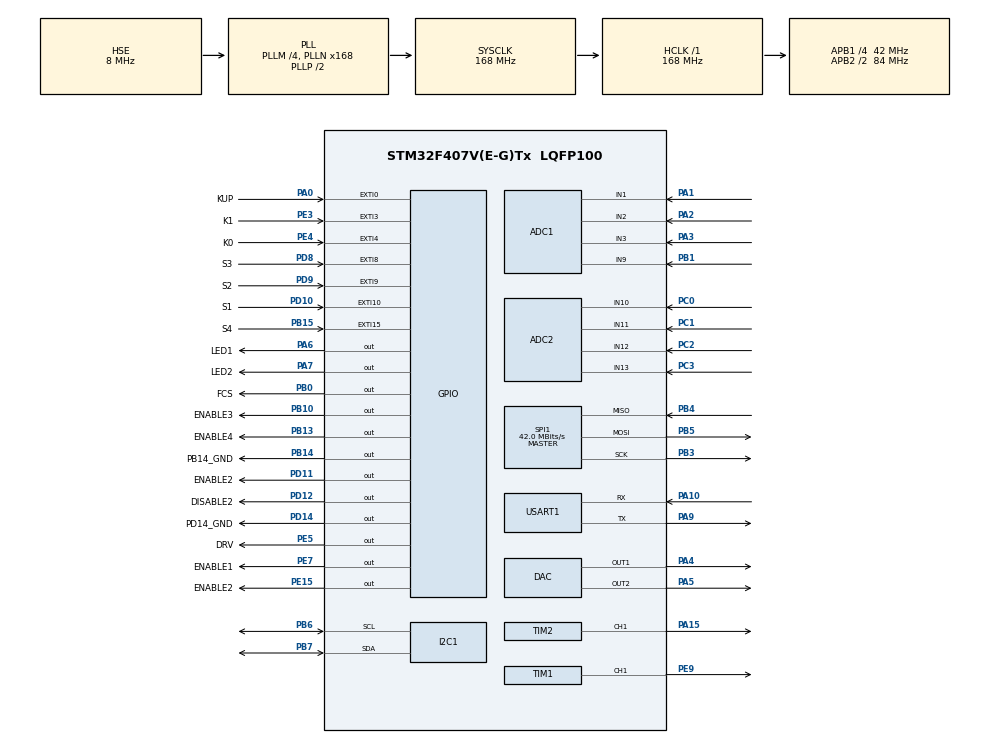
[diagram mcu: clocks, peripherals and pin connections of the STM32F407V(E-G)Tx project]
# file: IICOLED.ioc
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ADC1.Channel-0\#ChannelRegularConversion=ADC_CHANNEL_1
ADC1.Channel-1\#ChannelRegularConversion=ADC_CHANNEL_2
ADC1.Channel-2\#ChannelRegularConversion=ADC_CHANNEL_3
ADC1.Channel-7\#ChannelRegularConversion=ADC_CHANNEL_10
ADC1.ContinuousConvMode=ENABLE
ADC1.DMAContinuousRequests=ENABLE
ADC1.EOCSelection=ADC_EOC_SEQ_CONV
ADC1.EnableAnalogWatchDog=false
ADC1.NbrOfConversion=4
ADC1.NbrOfConversionFlag=1
ADC1.Rank-0\#ChannelRegularConversion=1
ADC1.Rank-1\#ChannelRegularConversion=2
ADC1.Rank-2\#ChannelRegularConversion=3
ADC1.Rank-7\#ChannelRegularConversion=4
ADC1.SamplingTime-0\#ChannelRegularConversion=ADC_SAMPLETIME_15CYCLES
ADC1.SamplingTime-1\#ChannelRegularConversion=ADC_SAMPLETIME_15CYCLES
ADC1.SamplingTime-2\#ChannelRegularConversion=ADC_SAMPLETIME_15CYCLES
ADC1.SamplingTime-7\#ChannelRegularConversion=ADC_SAMPLETIME_15CYCLES
ADC1.ScanConvMode=ENABLE
ADC1.master=1
ADC2.Channel-2\#ChannelRegularConversion=ADC_CHANNEL_10
ADC2.Channel-3\#ChannelRegularConversion=ADC_CHANNEL_11
ADC2.ClockPrescaler=ADC_CLOCK_SYNC_PCLK_DIV4
ADC2.ContinuousConvMode=ENABLE
ADC2.DMAContinuousRequests=ENABLE
ADC2.DiscontinuousConvMode=DISABLE
ADC2.EOCSelection=ADC_EOC_SEQ_CONV
ADC2.EnableAnalogWatchDog=false
ADC2.NbrOfConversion=2
ADC2.NbrOfConversionFlag=1
ADC2.Rank-2\#ChannelRegularConversion=1
ADC2.Rank-3\#ChannelRegularConversion=2
ADC2.SamplingTime-2\#ChannelRegularConversion=ADC_SAMPLETIME_15CYCLES
ADC2.SamplingTime-3\#ChannelRegularConversion=ADC_SAMPLETIME_15CYCLES
ADC2.ScanConvMode=ENABLE
DAC.DAC_OutputBuffer=DAC_OUTPUTBUFFER_DISABLE
DAC.DAC_OutputBuffer2=DAC_OUTPUTBUFFER_DISABLE
DAC.DAC_Trigger=DAC_TRIGGER_T6_TRGO
DAC.DAC_Trigger2=DAC_TRIGGER_T6_TRGO
Dma.ADC1.0.Direction=DMA_PERIPH_TO_MEMORY
Dma.ADC1.0.FIFOMode=DMA_FIFOMODE_DISABLE
Dma.ADC1.0.Instance=DMA2_Stream0
Dma.ADC1.0.MemDataAlignment=DMA_MDATAALIGN_HALFWORD
Dma.ADC1.0.MemInc=DMA_MINC_ENABLE
Dma.ADC1.0.Mode=DMA_CIRCULAR
Dma.ADC1.0.PeriphDataAlignment=DMA_PDATAALIGN_HALFWORD
Dma.ADC1.0.PeriphInc=DMA_PINC_DISABLE
Dma.ADC1.0.Priority=DMA_PRIORITY_VERY_HIGH
Dma.ADC2.1.Direction=DMA_PERIPH_TO_MEMORY
Dma.ADC2.1.FIFOMode=DMA_FIFOMODE_DISABLE
Dma.ADC2.1.Instance=DMA2_Stream2
Dma.ADC2.1.MemDataAlignment=DMA_MDATAALIGN_HALFWORD
Dma.ADC2.1.MemInc=DMA_MINC_ENABLE
Dma.ADC2.1.Mode=DMA_CIRCULAR
Dma.ADC2.1.PeriphDataAlignment=DMA_PDATAALIGN_HALFWORD
Dma.ADC2.1.PeriphInc=DMA_PINC_DISABLE
Dma.ADC2.1.Priority=DMA_PRIORITY_VERY_HIGH
Dma.DAC1.2.Direction=DMA_MEMORY_TO_PERIPH
Dma.DAC1.2.FIFOMode=DMA_FIFOMODE_DISABLE
Dma.DAC1.2.Instance=DMA1_Stream5
Dma.DAC1.2.MemDataAlignment=DMA_MDATAALIGN_HALFWORD
Dma.DAC1.2.MemInc=DMA_MINC_ENABLE
Dma.DAC1.2.Mode=DMA_CIRCULAR
Dma.DAC1.2.PeriphDataAlignment=DMA_PDATAALIGN_HALFWORD
Dma.DAC1.2.PeriphInc=DMA_PINC_DISABLE
Dma.DAC1.2.Priority=DMA_PRIORITY_HIGH
Dma.DAC2.3.Direction=DMA_MEMORY_TO_PERIPH
Dma.DAC2.3.FIFOMode=DMA_FIFOMODE_DISABLE
Dma.DAC2.3.Instance=DMA1_Stream6
Dma.DAC2.3.MemDataAlignment=DMA_MDATAALIGN_HALFWORD
Dma.DAC2.3.MemInc=DMA_MINC_ENABLE
Dma.DAC2.3.Mode=DMA_CIRCULAR
Dma.DAC2.3.PeriphDataAlignment=DMA_PDATAALIGN_HALFWORD
Dma.DAC2.3.PeriphInc=DMA_PINC_DISABLE
Dma.DAC2.3.Priority=DMA_PRIORITY_HIGH
Dma.Request0=ADC1
Dma.Request1=ADC2
Dma.Request2=DAC1
Dma.Request3=DAC2
Mcu.Family=STM32F4
Mcu.Name=STM32F407V(E-G)Tx
Mcu.Package=LQFP100
NVIC.DMA1_Stream5_IRQn=true\:0\:0\:false\:false\:true\:false\:true
NVIC.DMA1_Stream6_IRQn=true\:0\:0\:false\:false\:true\:false\:true
NVIC.DMA2_Stream0_IRQn=true\:0\:0\:true\:false\:true\:false\:true
NVIC.DMA2_Stream2_IRQn=true\:0\:0\:false\:false\:true\:false\:true
NVIC.EXTI0_IRQn=true\:7\:0\:true\:false\:true\:true\:true
NVIC.EXTI15_10_IRQn=true\:7\:0\:true\:false\:true\:true\:true
NVIC.EXTI3_IRQn=true\:7\:0\:true\:false\:true\:true\:true
NVIC.EXTI4_IRQn=true\:7\:0\:true\:false\:true\:true\:true
NVIC.EXTI9_5_IRQn=true\:7\:0\:true\:false\:true\:true\:true
NVIC.PriorityGroup=NVIC_PRIORITYGROUP_4
NVIC.TIM1_BRK_TIM9_IRQn=true\:4\:0\:true\:false\:true\:true\:true
NVIC.TIM6_DAC_IRQn=true\:0\:0\:false\:false\:true\:true\:true
NVIC.TIM8_BRK_TIM12_IRQn=true\:5\:0\:true\:false\:true\:true\:true
PA0-WKUP.GPIO_Label=KUP
PA0-WKUP.GPIO_ModeDefaultEXTI=GPIO_MODE_IT_FALLING
PA0-WKUP.GPIO_PuPd=GPIO_PULLDOWN
PA0-WKUP.Signal=GPXTI0
PA1.Signal=ADCx_IN1
PA10.Mode=Asynchronous
PA10.Signal=USART1_RX
PA13.Mode=Serial_Wire
PA13.Signal=SYS_JTMS-SWDIO
PA14.Mode=Serial_Wire
PA14.Signal=SYS_JTCK-SWCLK
PA15.Signal=S_TIM2_CH1_ETR
PA2.Signal=ADCx_IN2
PA3.Signal=ADCx_IN3
PA4.Signal=COMP_DAC1_group
PA5.Signal=COMP_DAC2_group
PA6.GPIO_Label=LED1
PA6.Signal=GPIO_Output
PA7.GPIO_Label=LED2
PA7.Signal=GPIO_Output
PA9.Mode=Asynchronous
PA9.Signal=USART1_TX
PB0.GPIO_Label=FCS
PB0.GPIO_Speed=GPIO_SPEED_FREQ_VERY_HIGH
PB0.PinState=GPIO_PIN_SET
PB0.Signal=GPIO_Output
PB1.Signal=ADCx_IN9
PB10.GPIO_Label=ENABLE3
PB10.GPIO_PuPd=GPIO_PULLDOWN
PB10.GPIO_Speed=GPIO_SPEED_FREQ_HIGH
PB10.Signal=GPIO_Output
PB13.GPIO_Label=ENABLE4
PB13.GPIO_PuPd=GPIO_PULLDOWN
PB13.GPIO_Speed=GPIO_SPEED_FREQ_HIGH
PB13.Signal=GPIO_Output
PB14.GPIO_Label=PB14_GND
PB14.GPIO_ModeDefaultOutputPP=GPIO_MODE_OUTPUT_OD
PB14.GPIO_PuPd=GPIO_PULLDOWN
PB14.Signal=GPIO_Output
PB15.GPIO_Label=S4
PB15.GPIO_ModeDefaultEXTI=GPIO_MODE_IT_FALLING
PB15.GPIO_PuPd=GPIO_PULLUP
PB15.Signal=GPXTI15
PB3.Mode=Full_Duplex_Master
PB3.Signal=SPI1_SCK
PB4.Mode=Full_Duplex_Master
PB4.Signal=SPI1_MISO
PB5.Mode=Full_Duplex_Master
PB5.Signal=SPI1_MOSI
PB6.Mode=I2C
PB6.Signal=I2C1_SCL
PB7.Mode=I2C
PB7.Signal=I2C1_SDA
PC0.Signal=ADCx_IN10
PC1.Signal=ADCx_IN11
PC2.Signal=ADCx_IN12
PC3.Signal=ADCx_IN13
PD10.GPIO_Label=S1
PD10.GPIO_ModeDefaultEXTI=GPIO_MODE_IT_FALLING
PD10.GPIO_PuPd=GPIO_PULLUP
PD10.Signal=GPXTI10
PD11.GPIO_Label=ENABLE2
PD11.GPIO_PuPd=GPIO_PULLDOWN
PD11.GPIO_Speed=GPIO_SPEED_FREQ_HIGH
PD11.PinState=GPIO_PIN_RESET
PD11.Signal=GPIO_Output
PD12.GPIO_Label=DISABLE2
PD12.GPIO_PuPd=GPIO_PULLUP
PD12.GPIO_Speed=GPIO_SPEED_FREQ_HIGH
PD12.PinState=GPIO_PIN_SET
PD12.Signal=GPIO_Output
PD14.GPIO_Label=PD14_GND
PD14.GPIO_ModeDefaultOutputPP=GPIO_MODE_OUTPUT_OD
PD14.Signal=GPIO_Output
PD8.GPIO_Label=S3
PD8.GPIO_ModeDefaultEXTI=GPIO_MODE_IT_FALLING
PD8.GPIO_PuPd=GPIO_PULLUP
PD8.Signal=GPXTI8
PD9.GPIO_Label=S2
PD9.GPIO_ModeDefaultEXTI=GPIO_MODE_IT_FALLING
PD9.GPIO_PuPd=GPIO_PULLUP
PD9.Signal=GPXTI9
PE15.GPIO_Label=ENABLE2
PE15.Signal=GPIO_Output
PE3.GPIO_Label=K1
PE3.GPIO_ModeDefaultEXTI=GPIO_MODE_IT_FALLING
PE3.GPIO_PuPd=GPIO_PULLUP
PE3.Signal=GPXTI3
PE4.GPIO_Label=K0
PE4.GPIO_ModeDefaultEXTI=GPIO_MODE_IT_FALLING
PE4.GPIO_PuPd=GPIO_PULLUP
PE4.Signal=GPXTI4
PE5.GPIO_Label=DRV
PE5.GPIO_PuPd=GPIO_PULLDOWN
PE5.GPIO_Speed=GPIO_SPEED_FREQ_VERY_HIGH
PE5.PinState=GPIO_PIN_RESET
PE5.Signal=GPIO_Output
PE7.GPIO_Label=ENABLE1
PE7.GPIO_PuPd=GPIO_PULLDOWN
PE7.GPIO_Speed=GPIO_SPEED_FREQ_HIGH
PE7.Signal=GPIO_Output
PE9.GPIO_Speed=GPIO_SPEED_FREQ_VERY_HIGH
PE9.Signal=S_TIM1_CH1
PH0-OSC_IN.Mode=HSE-External-Oscillator
PH0-OSC_IN.Signal=RCC_OSC_IN
PH1-OSC_OUT.Mode=HSE-External-Oscillator
PH1-OSC_OUT.Signal=RCC_OSC_OUT
ProjectManager.HeapSize=0x800
ProjectManager.StackSize=0xf00
ProjectManager.TargetToolchain=MDK-ARM V5
RCC.48MHZClocksFreq_Value=84000000
RCC.AHBFreq_Value=168000000
RCC.APB1CLKDivider=RCC_HCLK_DIV4
RCC.APB1Freq_Value=42000000
RCC.APB1TimFreq_Value=84000000
RCC.APB2CLKDivider=RCC_HCLK_DIV2
RCC.APB2Freq_Value=84000000
RCC.APB2TimFreq_Value=168000000
RCC.CortexFreq_Value=168000000
RCC.HCLKFreq_Value=168000000
RCC.HSE_VALUE=8000000
RCC.HSI_VALUE=16000000
RCC.LSE_VALUE=32768
RCC.PLLM=4
RCC.PLLN=168
RCC.PLLSourceVirtual=RCC_PLLSOURCE_HSE
RCC.SYSCLKFreq_VALUE=168000000
RCC.SYSCLKSource=RCC_SYSCLKSOURCE_PLLCLK
RCC.VCOOutputFreq_Value=336000000
SH.ADCx_IN1.0=ADC1_IN1,IN1
SH.ADCx_IN10.0=ADC2_IN10,IN10
SH.ADCx_IN10.1=ADC1_IN10,IN10
SH.ADCx_IN11.0=ADC2_IN11,IN11
SH.ADCx_IN11.1=ADC1_IN11,IN11
SH.ADCx_IN12.0=ADC2_IN12,IN12
SH.ADCx_IN12.1=ADC1_IN12,IN12
SH.ADCx_IN13.0=ADC2_IN13,IN13
SH.ADCx_IN13.1=ADC1_IN13,IN13
SH.ADCx_IN2.0=ADC1_IN2,IN2
SH.ADCx_IN3.0=ADC1_IN3,IN3
SH.ADCx_IN9.0=ADC1_IN9,IN9
SH.COMP_DAC1_group.0=DAC_OUT1,DAC_OUT1
SH.COMP_DAC2_group.0=DAC_OUT2,DAC_OUT2
SH.S_TIM1_CH1.0=TIM1_CH1,PWM Generation1 CH1
SH.S_TIM2_CH1_ETR.0=TIM2_CH1,PWM Generation1 CH1
SPI1.CalculateBaudRate=42.0 MBits/s
SPI1.Direction=SPI_DIRECTION_2LINES
SPI1.Mode=SPI_MODE_MASTER
SPI1.VirtualType=VM_MASTER
TIM1.Channel-PWM\ Generation1\ CH1=TIM_CHANNEL_1
TIM1.Period=83
TIM1.Pulse-PWM\ Generation1\ CH1=41
TIM1.TIM_MasterOutputTrigger=TIM_TRGO_ENABLE
TIM1.TIM_MasterSlaveMode=TIM_MASTERSLAVEMODE_ENABLE
TIM12.AutoReloadPreload=TIM_AUTORELOAD_PRELOAD_DISABLE
TIM12.ClockDivision=TIM_CLOCKDIVISION_DIV1
TIM12.Period=1000-1
TIM12.Prescaler=8400-1
TIM2.Channel-PWM\ Generation1\ CH1=TIM_CHANNEL_1
TIM2.Period=83
TIM2.Prescaler=0
TIM2.Pulse-PWM\ Generation1\ CH1=41
TIM6.AutoReloadPreload=TIM_AUTORELOAD_PRELOAD_ENABLE
TIM6.Period=119
TIM6.Prescaler=6
TIM6.TIM_MasterOutputTrigger=TIM_TRGO_UPDATE
TIM9.AutoReloadPreload=TIM_AUTORELOAD_PRELOAD_ENABLE
TIM9.Period=258-1
TIM9.Prescaler=84-1
USART1.VirtualMode=VM_ASYNC
VP_TIM12_VS_ClockSourceINT.Mode=Internal
VP_TIM6_VS_ClockSourceINT.Mode=Enable_Timer
VP_TIM9_VS_ClockSourceINT.Mode=Internal
board=custom

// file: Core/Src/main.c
/* USER CODE BEGIN Header */
/**
  ******************************************************************************
  * @file           : main.c
  * @brief          : Main program body
  ******************************************************************************
  * @attention
  *
  * <h2><center>&copy; Copyright (c) 2019 STMicroelectronics.
  * All rights reserved.</center></h2>
  *
  * This software component is licensed by ST under BSD 3-Clause license,
  * the "License"; You may not use this file except in compliance with the
  * License. You may obtain a copy of the License at:
  *                        opensource.org/licenses/BSD-3-Clause
  *
  ******************************************************************************
  */
/* USER CODE END Header */

#include "main.h"
#include "adc.h"
#include "dac.h"
#include "dma.h"
#include "i2c.h"
#include "spi.h"
#include "tim.h"
#include "usart.h"
#include "gpio.h"

/* USER CODE BEGIN Includes */
#include "stdio.h"
#include "math.h"
#include "stdlib.h"
#include "control.h"
#include "oled.h"
#include "w25q16.h"
#include "spwm.h"
#include "arm_const_structs.h"

/* USER CODE END Includes */

/* USER CODE BEGIN PD */
#define RELAY_ON()	HAL_GPIO_WritePin(ENABLE1_GPIO_Port, ENABLE1_Pin, GPIO_PIN_SET)
#define RELAY_OFF()	HAL_GPIO_WritePin(ENABLE1_GPIO_Port, ENABLE1_Pin, GPIO_PIN_RESET)
#define LOAD_ON()		HAL_GPIO_WritePin(ENABLE2_GPIO_Port, ENABLE2_Pin, GPIO_PIN_SET)
#define LOAD_OFF()	HAL_GPIO_WritePin(ENABLE2_GPIO_Port, ENABLE2_Pin, GPIO_PIN_RESET)

#define GAIN_ALL_200kHz (54.28*12.6/7.93)
#define GAIN_ALL_150kHz (54.28*15.8/11.01)
#define GAIN_ALL_100kHz (54.28*20/14.26)

#define GAIN_ALL_60kHz	(54.28*23/19.65)
#define GAIN_ALL_40kHz	(54.28*24.2/22.95)
#define GAIN_ALL_20kHz	(54.28*25.2/25.86)

#define GAIN_ALL_10kHz	(54.28*33/27.03)
#define GAIN_ALL_1kHz		(54.28)
#define Schottky_drop		200

#define Filter   0.5

/* USER CODE END PD */

/* USER CODE BEGIN PV */
//Global Flag
uint8_t FLAG_GLOBAL_MODE = 0;
FlagStatus FLAG_MODE_SET0 = RESET;
FlagStatus FLAG_MODE_SET1 = RESET;

//ADC1&2 Datas
extern uint16_t adc1_values[adc1_data_num];
extern int16_t adc1_filter[adc1_channel];
extern float adc1_average[adc1_channel];
extern uint16_t adc2_values[adc2_data_num];
extern int16_t adc2_filter[adc2_channel];
extern float adc2_average[adc2_channel];

int16_t ad1_vrm_p[adc1_channel] = {0};
int16_t ad1_vrm_n[adc1_channel] = {0};
int16_t flag_ad_vrm = 0;

int16_t adc1_vpp = 0;
int16_t adc2_vpp = 0;
int16_t vo_vpp_no_load = 0;
int16_t vo_vpp_with_load = 0;
int16_t vo_avr_no_load = 0;
int16_t vo_avr_with_load = 0;
int16_t pulse_vpp_adc = 0;

double regsitor_input = 0;
double regsitor_input_temp = 0;
double regsitor_input_adv = 1;
double regsitor_output = 1000;
double regsitor_output_adv = 0;
double gain_in = 0.0;
double gain_trans[20] = {0.0};
double gain_trans_adv[20] = {0.0};
double gain_max = 0;
double gain_max_adv = 0;
double gain_limit = 0;
double gain_limit_adv = 0;
int16_t vo_avr_1kHz = 0;
int16_t vo_vpp[20] = {0};

uint8_t flag_vavr = 0;
uint8_t flag_input = 0;
uint8_t flag_input1 = 0;
uint8_t flag_output = 0;
uint8_t flag_gain_1kHz = 0;
uint8_t flag_gain_200kHz = 0;
uint8_t flag_pulse = 0;
uint8_t flag_50Hz_gain = 0;

int16_t flag_vavr_adc = 0;

double gain_freq[11] = {0.05,0.1,0.5,1,10,20,40,60,100,150,200,};

//const uint16_t Sinebit1[100]={
//	0x7FF,0x7FF,0x7FF,0x7FF,0x7FF,0x7FF,0x7FF,0x7FF,0x7FF,0x7FF,
//	0x7FF,0x7FF,0x7FF,0x7FF,0x7FF,0x7FF,0x7FF,0x7FF,0x7FF,0x7FF,
//	0x7FF,0x7FF,0x7FF,0x7FF,0x7FF,0x7FF,0x7FF,0x7FF,0x7FF,0x7FF,
//	0x7FF,0x7FF,0x7FF,0x7FF,0x7FF,0x7FF,0x7FF,0x7FF,0x7FF,0x7FF,
//	0x7FF,0x7FF,0x7FF,0x7FF,0x7FF,0x7FF,0x7FF,0x7FF,0x7FF,0x7FF,
//	0x0FF,0x0FF,0x0FF,0x0FF,0x0FF,0x0FF,0x0FF,0x0FF,0x0FF,0x0FF,
//	0x0FF,0x0FF,0x0FF,0x0FF,0x0FF,0x0FF,0x0FF,0x0FF,0x0FF,0x0FF,
//	0x0FF,0x0FF,0x0FF,0x0FF,0x0FF,0x0FF,0x0FF,0x0FF,0x0FF,0x0FF,
//	0x0FF,0x0FF,0x0FF,0x0FF,0x0FF,0x0FF,0x0FF,0x0FF,0x0FF,0x0FF,
//	0x0FF,0x0FF,0x0FF,0x0FF,0x0FF,0x0FF,0x0FF,0x0FF,0x0FF,0x0FF,
//};
//Sine
const uint16_t Sinebit1[100]={
	0x7ff,0x84c,0x89a,0x8e7,0x933,0x97e,0x9c7,0xa0f,0xa54,0xa98,
	0xad8,0xb16,0xb50,0xb87,0xbbb,0xbeb,0xc16,0xc3e,0xc62,0xc81,
	0xc9b,0xcb1,0xcc2,0xcce,0xcd5,0xcd8,0xcd5,0xcce,0xcc2,0xcb1,
	0xc9b,0xc81,0xc62,0xc3e,0xc16,0xbeb,0xbbb,0xb87,0xb50,0xb16,
	0xad8,0xa98,0xa54,0xa0f,0x9c7,0x97e,0x933,0x8e7,0x89a,0x84c,
	0x7ff,0x7b1,0x763,0x716,0x6ca,0x67f,0x636,0x5ee,0x5a9,0x565,
	0x525,0x4e7,0x4ad,0x476,0x442,0x412,0x3e7,0x3bf,0x39b,0x37c,
	0x362,0x34c,0x33b,0x32f,0x328,0x325,0x328,0x32f,0x33b,0x34c,
	0x362,0x37c,0x39b,0x3bf,0x3e7,0x412,0x442,0x476,0x4ad,0x4e7,
	0x525,0x565,0x5a9,0x5ee,0x636,0x67f,0x6ca,0x716,0x763,0x7b1,
};
const uint16_t Sinebit2[100]={
	0x7ff,0x806,0x80e,0x816,0x81d,0x825,0x82c,0x833,0x83a,0x841,
	0x847,0x84e,0x853,0x859,0x85e,0x863,0x867,0x86b,0x86f,0x872,
	0x875,0x877,0x878,0x87a,0x87a,0x87b,0x87a,0x87a,0x878,0x877,
	0x875,0x872,0x86f,0x86b,0x867,0x863,0x85e,0x859,0x853,0x84e,
	0x847,0x841,0x83a,0x833,0x82c,0x825,0x81d,0x816,0x80e,0x806,
	0x7ff,0x7f7,0x7ef,0x7e7,0x7e0,0x7d8,0x7d1,0x7ca,0x7c3,0x7bc,
	0x7b6,0x7af,0x7aa,0x7a4,0x79f,0x79a,0x796,0x792,0x78e,0x78b,
	0x788,0x786,0x785,0x783,0x783,0x782,0x783,0x783,0x785,0x786,
	0x788,0x78b,0x78e,0x792,0x796,0x79a,0x79f,0x7a4,0x7aa,0x7af,
	0x7b6,0x7bc,0x7c3,0x7ca,0x7d1,0x7d8,0x7e0,0x7e7,0x7ef,0x7f7,
};
uint16_t DualSinebit_Mian[2] = {0x7FF};
uint16_t DualSinebit[100];
uint32_t Idx = 0;

uint16_t flag_100Hz = 0;
uint16_t ii = 0;

double A1,A2;
double F1,F2;
double F0,A0;
double A1_adv,A2_adv;
double F1_adv,F2_adv;
double F0_adv,A0_adv;

/* USER CODE END PV */

void SystemClock_Config(void);
/* USER CODE BEGIN PFP */
void ADC_VRMS(void);
void BSP_Init(void);
void DAC_GAIN_Set(FlagStatus GAIN);
void PWM_SetFreqkHz(uint16_t freq);
void DAC_SetFreqHz(uint16_t freq);

/* USER CODE END PFP */

/* USER CODE BEGIN 0 */
#ifdef __GNUC__
  /* With GCC/RAISONANCE, small printf (option LD Linker->Libraries->Small printf
     set to 'Yes') calls __io_putchar() */
  #define PUTCHAR_PROTOTYPE int __io_putchar(int ch)
#else
  #define PUTCHAR_PROTOTYPE int fputc(int ch, FILE *f)
#endif /* __GNUC__ */
/**
  * @brief  Retargets the C library printf function to the USART.
  * @param  None
  * @retval None
  */
PUTCHAR_PROTOTYPE
{
  /* Place your implementation of fputc here */
  /* e.g. write a character to the EVAL_COM1 and Loop until the end of transmission */
  HAL_UART_Transmit(&huart1, (uint8_t *)&ch, 1, 0xFFFF);
  return ch;
}

/* USER CODE END 0 */

int main(void)
{

  /* MCU Configuration--------------------------------------------------------*/

  /* Reset of all peripherals, Initializes the Flash interface and the Systick. */
  HAL_Init();

  /* Configure the system clock */
  SystemClock_Config();

  /* Initialize all configured peripherals */
  MX_GPIO_Init();
  MX_DMA_Init();
  MX_I2C1_Init();
  MX_TIM1_Init();
  MX_ADC1_Init();
  MX_USART1_UART_Init();
  MX_SPI1_Init();
  MX_ADC2_Init();
  MX_TIM12_Init();
  MX_DAC_Init();
  MX_TIM9_Init();
  MX_TIM6_Init();
  MX_TIM2_Init();
  /* USER CODE BEGIN 2 */
	ADC_Init();
	HAL_ADC_Start_DMA(&hadc1, (uint32_t *)adc1_values, adc1_data_num);
	HAL_ADC_Start_DMA(&hadc2, (uint32_t *)adc2_values, adc2_data_num);
	HAL_Delay(100);

	OLED_Init();
	OLED_Clear();
	OLED_ShowString(6,0,(uint8_t*)"OLED TEST OK.",0,8);

	//ADC1_Average(adc1_values);
	//ADC2_Average(adc2_values);
	OLED_ShowString(6,1,(uint8_t*)"ADC OK.",0,8);

//	if(W25Q16 == W25QXX_ReadID())
//		OLED_ShowString(6,2,(uint8_t*)"W25Q16 OK.",0,8);

//	W25QXX_Read(read_value,W25Q16_SIZE-1000,6);
//	temp_value = strtod((char*)read_value,NULL);
//	OLED_ShowFloat(6,3,temp_value,2,3,0,8);

	RELAY_ON();
	LOAD_OFF();

	HAL_Delay(100);
	OLED_Clear();
	OLED_ShowNum(0,0,0,5,0,8);	OLED_ShowNum(64,0,0,5,0,8);
	OLED_ShowNum(0,1,0,5,0,8);	OLED_ShowNum(64,1,0,5,0,8);

	OLED_ShowString(0,0,(uint8_t *)"Rin(kOhm)",0,8);
	OLED_ShowString(0,1,(uint8_t *)"Rout(Ohm)",0,8);
	OLED_ShowString(0,2,(uint8_t *)"Gain(db)",0,8);

	HAL_TIM_Base_Start(&htim6);				//DAC Sine_1kHz
	HAL_TIM_Base_Start_IT(&htim9);		//ADC VRMS
	HAL_TIM_Base_Start_IT(&htim12);		//1Hz
	HAL_TIM_PWM_Start(&htim1, TIM_CHANNEL_1);//PWM

	DAC_GAIN_Set(SET);
	HAL_DAC_Start_DMA(&hdac,DAC_CHANNEL_1,(uint32_t *)DualSinebit,100,DAC_ALIGN_12B_R);
	HAL_DAC_Start_DMA(&hdac,DAC_CHANNEL_2,(uint32_t *)DualSinebit,100,DAC_ALIGN_12B_R);

	//PWM_SetFreqkHz(10);
	//DAC_SetFreqHz(100);

  /* USER CODE END 2 */

  /* Infinite loop */
  while (1)
  {

    /* USER CODE BEGIN 3 */
		switch(FLAG_GLOBAL_MODE)
		{
			case 0:  //000000000000000000000000000000000000000000000000000000000000000000000000000000000000000000000000000000000000000000
			{
				OLED_ShowFloat(64,0,regsitor_input,4,4,0,8);
				OLED_ShowFloat(64,1,regsitor_output,4,4,0,8);
				OLED_ShowFloat(64,2,gain_trans[3],4,4,0,8);

				OLED_ShowString(0,3,(uint8_t *)"                    ",0,8);
				OLED_ShowString(0,4,(uint8_t *)"                    ",0,8);
				OLED_ShowString(0,5,(uint8_t *)"                    ",0,8);
				OLED_ShowString(0,6,(uint8_t *)"                    ",0,8);
				OLED_ShowString(0,7,(uint8_t *)"                    ",0,8);
				break;
			}
			case 1:  //111111111111111111111111111111111111111111111111111111111111111111111111111111111111111111111111111111111111111111111
			{
				//OLED_ShowFloat(64,4,gain_trans[1],4,4,0,8);
				OLED_ShowString(0,4,(uint8_t *)"         ",0,8);
				OLED_ShowString(64,4,(uint8_t *)"         ",0,8);
				OLED_ShowFloat(0,0,gain_trans[0],2,1,0,8);				OLED_ShowFloat(63,0,gain_trans[1],2,1,0,8);
				OLED_ShowFloat(0,1,gain_trans[2],2,1,0,8);				OLED_ShowFloat(63,1,gain_trans[3],2,1,0,8);
				OLED_ShowFloat(0,2,gain_trans[4],2,1,0,8);				OLED_ShowFloat(63,2,gain_trans[8],2,1,0,8);
				OLED_ShowFloat(0,3,gain_trans[10],2,1,0,8);				//OLED_ShowFloat(63,3,gain_trans[7],2,1,0,8);

				OLED_ShowString(24,0,(uint8_t *)":50   ",0,8);		OLED_ShowString(87,0,(uint8_t *)":100  ",0,8);
				OLED_ShowString(24,1,(uint8_t *)":500  ",0,8);		OLED_ShowString(87,1,(uint8_t *)":1k   ",0,8);
				OLED_ShowString(24,2,(uint8_t *)":10k  ",0,8);		OLED_ShowString(87,2,(uint8_t *)":100k ",0,8);
				OLED_ShowString(24,3,(uint8_t *)":200k ",0,8);		OLED_ShowString(63,3,(uint8_t *)"G(db)/F",0,8);

				OLED_ShowWave(11,5);

				OLED_ShowFloat(87,5,F0,3,1,0,8);
				OLED_ShowString(87+30,5,(uint8_t *)"k",0,8);

				break;
			}
			case 2:    //222222222222222222222222222222222222222222222222222222222222222222222222222222222222222222222222222222222222222222
			{
				OLED_ShowString(0,4,(uint8_t *)"         ",0,8);
				OLED_ShowString(64,4,(uint8_t *)"         ",0,8);
				OLED_ShowString(0,3,(uint8_t *)"                    ",0,8);
				OLED_ShowString(0,0,(uint8_t *)"Rin(kOhm)",0,8);
				OLED_ShowString(0,1,(uint8_t *)"Rout(Ohm)",0,8);
				OLED_ShowString(0,2,(uint8_t *)"Gain(db)",0,8);
				//OLED_ShowString(0,3,(uint8_t *)"                    ",0,8);

				OLED_ShowFloat(64,0,regsitor_input_adv,4,4,0,8);
				//OLED_ShowFloat(64,1,regsitor_input_adv,4,4,0,8);
				OLED_ShowFloat(64,1,regsitor_output_adv,4,4,0,8);
				OLED_ShowFloat(64,2,gain_trans_adv[3],4,4,0,8);

				//OLED_ShowFloat(0,4,gain_trans_adv[3],2,1,0,8);						OLED_ShowFloat(63,4,gain_trans_adv[4],2,1,0,8);
				//OLED_ShowFloat(0,5,gain_trans_adv[5],2,1,0,8);						OLED_ShowFloat(63,5,gain_trans_adv[6],2,1,0,8);
				//OLED_ShowFloat(0,6,gain_trans_adv[7],2,1,0,8);						OLED_ShowFloat(63,6,gain_trans_adv[8],2,1,0,8);
				//OLED_ShowFloat(0,7,gain_trans_adv[9],2,1,0,8);						OLED_ShowFloat(63,7,gain_trans_adv[10],2,1,0,8);
				{ //INPUT R FLAG CALCULATION

				if(regsitor_input_adv <= 0.2)
					flag_input = 1;
				else if(regsitor_input_adv>0.2 && regsitor_input_adv<=0.7*regsitor_input)
					flag_input = 2;
				else if(regsitor_input_adv>0.7*regsitor_input && regsitor_input_adv<=2*regsitor_input)
					flag_input = 0;
				else if(regsitor_input_adv>2*regsitor_input && regsitor_input_adv<=100)
					flag_input = 3;
				else if(regsitor_input_adv>100)
					flag_input = 4;

				if(regsitor_input_adv <= 9.6)
					flag_input1 = 0;
				if(regsitor_input_adv > 10.5)
					flag_input1 = 1;
				}
				{ //OUTPUT R FLAG CALCULATION
				if(regsitor_output_adv <= 200)
					flag_output = 1;
				else
					flag_output = 0;
			  }

				// Vout AVR FLAG CALCULATION
				if(HAL_GPIO_ReadPin(ENABLE2_GPIO_Port,ENABLE2_Pin) == RESET)
				{
					if(flag_vavr_adc >= 3420)
						flag_vavr = 1;
					if(flag_vavr_adc>=2800 && flag_vavr_adc<3410 )
						flag_vavr = 2;
					if(flag_vavr_adc>=1500 && flag_vavr_adc<2800)
						flag_vavr = 3;
					if(flag_vavr_adc>=100 && flag_vavr_adc<1500)
						flag_vavr = 0;
					if(flag_vavr_adc>=20 && flag_vavr_adc<100)
						flag_vavr = 4;
					if(flag_vavr_adc<20)
						flag_vavr = 5;
				}

				//OLED_ShowNum(0,3,ad1_vrm_p[2],5,0,8);
				//OLED_ShowNum(0,4,adc1_filter[3],5,0,8);
				//OLED_ShowNum(64,3,gain_trans_adv[3],5,0,8);

				//OLED_ShowFloat(87,3,F0_adv,3,1,0,8);
				OLED_ShowNum(0,3,flag_input,1,0,8);
				OLED_ShowNum(20,3,flag_output,1,0,8);
				OLED_ShowNum(40,3,flag_vavr,1,0,8);
				//OLED_ShowNum(0,4,flag_vavr,1,0,8);
				//OLED_ShowNum(20,4,flag_gain_1kHz,1,0,8);
				//OLED_ShowNum(40,4,flag_gain_200kHz,1,0,8);
				//OLED_ShowNum(60,4,flag_pulse,1,0,8);

				OLED_ShowString(0,4,(uint8_t *)"         ",0,8);

				if((flag_input ==3) && ((flag_vavr ==1) ||(flag_vavr ==2) )&& (flag_input1 == 1))
					OLED_ShowString(0,4,(uint8_t *)"R1 open  ",0,8);
				if((flag_input == 2) || (flag_input == 1))
					if((flag_output == 1) && (flag_vavr == 2))
					OLED_ShowString(0,4,(uint8_t *)"R1 short ",0,8);
				if((flag_vavr == 0))
					OLED_ShowString(0,4,(uint8_t *)"R2 open  ",0,8);
				if((flag_input == 2) || (flag_input == 1))
					if((flag_output == 0) && ((flag_vavr ==1)||(flag_vavr ==2)))
					OLED_ShowString(0,4,(uint8_t *)"R2 short ",0,8);
				if((flag_vavr ==4))
					OLED_ShowString(0,4,(uint8_t *)"R3 open  ",0,8);
				if((flag_input ==0) && (flag_output == 1) && ((flag_vavr ==1) ||(flag_vavr ==2) ))
					OLED_ShowString(0,4,(uint8_t *)"R3 short ",0,8);
				if((flag_input ==3) && ((flag_vavr ==1) ||(flag_vavr ==2) ) && (flag_input1 == 0))
					OLED_ShowString(0,4,(uint8_t *)"R4 open  ",0,8);
				if((flag_vavr ==5))
					OLED_ShowString(0,4,(uint8_t *)"R4 short ",0,8);

				OLED_ShowString(64,4,(uint8_t *)"         ",0,8);
				OLED_ShowString(64,5,(uint8_t *)"          ",0,8);
				if((flag_vavr == 3))
				{
					if((flag_pulse == 1) && (flag_gain_1kHz == 1))
						OLED_ShowString(64,5,(uint8_t *)"C1 Double",0,8);
					if((flag_50Hz_gain == 1) && (flag_gain_1kHz == 1))
						OLED_ShowString(64,5,(uint8_t *)"C2 Double",0,8);
					if((flag_gain_200kHz == 1) && (flag_gain_1kHz == 1))
						OLED_ShowString(64,5,(uint8_t *)"C3 Double",0,8);

					if((flag_gain_200kHz == 3) && (flag_gain_1kHz == 1))
						OLED_ShowString(64,4,(uint8_t *)"C3 Open  ",0,8);
					if((flag_input == 4) && (flag_gain_1kHz == 0))
						OLED_ShowString(64,4,(uint8_t *)"C1 Open  ",0,8);

					if((flag_input == 3) && (flag_gain_1kHz == 0))
						OLED_ShowString(64,4,(uint8_t *)"C2 Open  ",0,8);
				}

				//OLED_ShowFloat(0,6,gain_trans_adv[10],3,1,0,8);

				break;
			}
			default:
				break;
		}
		HAL_GPIO_TogglePin(LED1_GPIO_Port, LED1_Pin);
		HAL_Delay(5);
	}
	//eeeeeeeeeeeeeeeeeeeeeeeeeeeeeeeeeeeeeeeeeeeeeeeeeeeeeeeeeeeeeeeeeeeeeeeeeeeeeeeeeeeeeeeeeeeeeeeeeeeeeeeeeeeeeeeeeeeeeeeeeeeeeeeeeeee
  /* USER CODE END 3 */
}

void SystemClock_Config(void)
{
  RCC_OscInitTypeDef RCC_OscInitStruct = {0};
  RCC_ClkInitTypeDef RCC_ClkInitStruct = {0};

  /** Configure the main internal regulator output voltage
  */
  __HAL_RCC_PWR_CLK_ENABLE();
  __HAL_PWR_VOLTAGESCALING_CONFIG(PWR_REGULATOR_VOLTAGE_SCALE1);
  /** Initializes the CPU, AHB and APB busses clocks
  */
  RCC_OscInitStruct.OscillatorType = RCC_OSCILLATORTYPE_HSE;
  RCC_OscInitStruct.HSEState = RCC_HSE_ON;
  RCC_OscInitStruct.PLL.PLLState = RCC_PLL_ON;
  RCC_OscInitStruct.PLL.PLLSource = RCC_PLLSOURCE_HSE;
  RCC_OscInitStruct.PLL.PLLM = 4;
  RCC_OscInitStruct.PLL.PLLN = 168;
  RCC_OscInitStruct.PLL.PLLP = RCC_PLLP_DIV2;
  RCC_OscInitStruct.PLL.PLLQ = 4;
  if (HAL_RCC_OscConfig(&RCC_OscInitStruct) != HAL_OK)
  {
    Error_Handler();
  }
  /** Initializes the CPU, AHB and APB busses clocks
  */
  RCC_ClkInitStruct.ClockType = RCC_CLOCKTYPE_HCLK|RCC_CLOCKTYPE_SYSCLK
                              |RCC_CLOCKTYPE_PCLK1|RCC_CLOCKTYPE_PCLK2;
  RCC_ClkInitStruct.SYSCLKSource = RCC_SYSCLKSOURCE_PLLCLK;
  RCC_ClkInitStruct.AHBCLKDivider = RCC_SYSCLK_DIV1;
  RCC_ClkInitStruct.APB1CLKDivider = RCC_HCLK_DIV4;
  RCC_ClkInitStruct.APB2CLKDivider = RCC_HCLK_DIV2;

  if (HAL_RCC_ClockConfig(&RCC_ClkInitStruct, FLASH_LATENCY_5) != HAL_OK)
  {
    Error_Handler();
  }
}

/* USER CODE BEGIN 4 */

void HAL_GPIO_EXTI_Callback(uint16_t GPIO_Pin)
{
	if(GPIO_Pin == KUP_Pin)							// KUP接下拉，弹起后电位产生下降沿，检测下降沿
  {
		HAL_Delay(20);
    if(HAL_GPIO_ReadPin(KUP_GPIO_Port,KUP_Pin)==GPIO_PIN_RESET)
		{
			FLAG_GLOBAL_MODE = 0;
		}
		__HAL_GPIO_EXTI_CLEAR_IT(KUP_Pin);
  }

  if(GPIO_Pin == K0_Pin)
  {
		HAL_Delay(20);
    if(HAL_GPIO_ReadPin(K0_GPIO_Port,K0_Pin)==GPIO_PIN_RESET)
		{
			FLAG_GLOBAL_MODE = 1;
		}
		__HAL_GPIO_EXTI_CLEAR_IT(K0_Pin);
  }

	if(GPIO_Pin == K1_Pin)
	{
		HAL_Delay(20);
    if(HAL_GPIO_ReadPin(K1_GPIO_Port,K1_Pin)==GPIO_PIN_RESET)
		{
			FLAG_GLOBAL_MODE = 2;
		}
		__HAL_GPIO_EXTI_CLEAR_IT(K1_Pin);
	}
}

void HAL_TIM_PeriodElapsedCallback(TIM_HandleTypeDef *htim)
{
	/* TIM1 1MHz PWM -------------------------------------------------------------- -------------------------------------------------------------- TIM1 1MHz PWM*/
	if(htim->Instance == htim1.Instance)
	{

	}

	/* TIM9 3.89kHz -------------------------------------------------------------- ------------------------------------------------------------------ TIM9 2kHz */
	if(htim->Instance == htim9.Instance)
	{
		ADC_VRMS();
		switch(flag_100Hz)
		{
			case 1:
			{
				adc1_vpp = ad1_vrm_p[0]-ad1_vrm_n[0];
				adc2_vpp = ad1_vrm_p[1]-ad1_vrm_n[1];
				regsitor_input_temp = 0.7*regsitor_input_temp + 0.3*(double)adc2_vpp*10.0/(double)(adc1_vpp-adc2_vpp);
				regsitor_input_temp = regsitor_input_temp*10.0/11.2;
				break;
			}
			default:
			{
				adc1_vpp = ad1_vrm_p[0]-ad1_vrm_n[0];
				adc2_vpp = ad1_vrm_p[1]-ad1_vrm_n[1];
				regsitor_input_temp = 0.7*regsitor_input_temp + 0.3*(double)adc2_vpp*10.0/(double)(adc1_vpp-adc2_vpp);
				regsitor_input_temp = regsitor_input_temp*10.0/11.2;
				break;
			}
		}
		//DualSinebit_Mian[0] = (uint32_t)((ad1_vrm_p[0] << 16) + ad1_vrm_p[0]);
		//DualSinebit_Mian[1] = (uint32_t)((ad1_vrm_p[0] << 16) + ad1_vrm_p[0]);
	}

	/* TIM12 100Hz -------------------------------------------------------------- ----------------------------------------------------------------- TIM12 10Hz */
	if(htim->Instance == htim12.Instance)
	{
		switch(FLAG_GLOBAL_MODE)
		{
			case 0:			//基础部分1-3  0000000000000000000000000000000000000000000000000000000000000000000000000000
			{
				FLAG_MODE_SET0 = SET;
				__HAL_TIM_SET_COMPARE(&htim1,TIM_CHANNEL_1,0);
				RELAY_OFF();
				DAC_SetFreqHz(1000);
				switch(flag_100Hz)
				{
					case 0:
					{
						DAC_GAIN_Set(SET);
						break;
					}
					case 1:		//输入电阻 1V
					{
						//adc1_vpp = ad1_vrm_p[0]-ad1_vrm_n[0];
						//adc2_vpp = ad1_vrm_p[1]-ad1_vrm_n[1];
						//regsitor_input_temp = (double)adc2_vpp*10.0/(double)(adc1_vpp-adc2_vpp);
						//if(fabs(regsitor_input - (double)adc2_vpp*10.0/(double)(adc1_vpp-adc2_vpp)) > 30)
						//	regsitor_input = 0.5*(double)regsitor_input + 0.5*regsitor_input_temp;
						//else
						//	regsitor_input = 0.9*(double)regsitor_input + 0.1*regsitor_input_temp;
						//regsitor_input = (double)regsitor_input*100/103;

						regsitor_input = Filter*regsitor_input+ (1-Filter)*regsitor_input_temp;
						vo_vpp_no_load = (ad1_vrm_p[2] - adc1_filter[3] + Schottky_drop)<<1;
						vo_avr_no_load = adc1_filter[3];

						LOAD_ON();
						//DAC_GAIN_Set(RESET); //0.1V 为case2准备
						break;
					}
					case 2:		//输出电阻 0.1V
					{
						vo_vpp_with_load = (ad1_vrm_p[2] - adc1_filter[3] + Schottky_drop)<<1;
						vo_avr_with_load = adc1_filter[3];
						regsitor_output = (double)(vo_avr_no_load-vo_avr_with_load) * 2000 / vo_avr_with_load;

						LOAD_OFF();
						DAC_GAIN_Set(SET);
						break;
					}
					case 3:		//增益 1V 1kHz
					{
						vo_vpp[3] = Filter*vo_vpp[3] + (1-Filter)*((ad1_vrm_p[2] - adc1_filter[3] + Schottky_drop)<<1);
						gain_in = regsitor_input/(regsitor_input+10);
						gain_trans[3] = 20*log10f(vo_vpp[3]/GAIN_ALL_1kHz/gain_in); //    /gain_in !!!!!!!!!!!!!!!!!!!!!!!!!!!!!!!!!!!!!!!!!!!!!!!!!
						break;
					}
					default:
						break;
				}
				break;
			}
			case 1:			//基础4 伯德图  1111111111111111111111111111111111111111111111111111111111111111111111111111111111111
			{
				FLAG_MODE_SET1 = SET;
				LOAD_OFF();
				DAC_GAIN_Set(SET);

//				RELAY_ON();
//				PWM_SetFreqkHz(10);
//				switch(flag_10Hz)
//				{
//					case 0:
//					{
//						vo_vpp[0] = 0.5*vo_vpp[0] + 0.5*((ad1_vrm_p[2] - adc1_filter[3] + Schottky_drop)<<1);
//						gain_trans[0] = 10.0*vo_vpp[0]/GAIN_ALL_1kHz;//gain_in;
//						break;
//					}
//					default:
//						break;
//				}
				switch(flag_100Hz)
				{
					case 0:
					{
						__HAL_TIM_SET_COUNTER(&htim1,0);
						__HAL_TIM_SET_COMPARE(&htim1,TIM_CHANNEL_1,0);
						pulse_vpp_adc = adc1_filter[1];

						RELAY_OFF();				//DAC使用
						DAC_SetFreqHz(50);
						break;
					}
					case 3:
					{
						//vo_vpp[0] = Filter*vo_vpp[0] + (1-Filter)*((ad1_vrm_p[2] - adc1_filter[3] + 0)<<1);
						vo_vpp[0] = 0.75*vo_vpp[0] + (0.25)*((ad1_vrm_p[2] - vo_avr_1kHz + 0)<<1);
						gain_trans[0] = 20*log10f(vo_vpp[0]/GAIN_ALL_1kHz/gain_in);//gain_in;
						DAC_SetFreqHz(100);
						break;
					}
					case 4:
					{
						vo_vpp[1] = Filter*vo_vpp[1] + (1-Filter)*((ad1_vrm_p[2] - adc1_filter[3] + Schottky_drop)<<1);
						gain_trans[1] = 20*log10f(vo_vpp[1]/GAIN_ALL_1kHz/gain_in);//gain_in;
						DAC_SetFreqHz(500);
						break;
					}
					case 5:
					{
						vo_vpp[2] = Filter*vo_vpp[2] + (1-Filter)*((ad1_vrm_p[2] - adc1_filter[3] + Schottky_drop)<<1);
						gain_trans[2] = 20*log10f(vo_vpp[2]/GAIN_ALL_1kHz/gain_in);//gain_in;
						DAC_SetFreqHz(1000);
						break;
					}
					case 6:
					{
						vo_vpp[3] = Filter*vo_vpp[3] + (1-Filter)*((ad1_vrm_p[2] - adc1_filter[3] + Schottky_drop)<<1);
						gain_trans[3] = 20*log10f(vo_vpp[3]/GAIN_ALL_1kHz/gain_in);//gain_in;
						vo_avr_1kHz = adc1_filter[3];

						//PWM open
						RELAY_ON();
						PWM_SetFreqkHz(10);
						break;
					}
					case 7:
					{
						vo_vpp[4] = Filter*vo_vpp[4] + (1-Filter)*((ad1_vrm_p[2] - adc1_filter[3] + Schottky_drop)<<1);
						gain_trans[4] = 20*log10f(vo_vpp[4]/GAIN_ALL_10kHz/gain_in);//gain_in;
						PWM_SetFreqkHz(20);
						break;
					}
					case 8:
					{
						vo_vpp[5] = Filter*vo_vpp[5] + (1-Filter)*((ad1_vrm_p[2] - adc1_filter[3] + Schottky_drop)<<1);
						gain_trans[5] = 20*log10f(vo_vpp[5]/GAIN_ALL_20kHz/gain_in);//gain_in;
						PWM_SetFreqkHz(40);
						break;
					}
					case 9:
					{
						vo_vpp[6] = Filter*vo_vpp[6] + (1-Filter)*((ad1_vrm_p[2] - adc1_filter[3] + Schottky_drop)<<1);
						gain_trans[6] = 20*log10f(vo_vpp[6]/GAIN_ALL_40kHz/gain_in);//gain_in;
						PWM_SetFreqkHz(60);
						break;
					}
					case 10:
					{
						vo_vpp[7] = Filter*vo_vpp[7] + (1-Filter)*((ad1_vrm_p[2] - adc1_filter[3] + Schottky_drop)<<1);
						gain_trans[7] = 20*log10f(vo_vpp[7]/GAIN_ALL_60kHz/gain_in);//gain_in;
						PWM_SetFreqkHz(100);
						break;
					}
					case 11:
					{
						vo_vpp[8] = Filter*vo_vpp[8] + (1-Filter)*((ad1_vrm_p[2] - adc1_filter[3] + Schottky_drop)<<1);
						gain_trans[8] = 20*log10f(vo_vpp[8]/GAIN_ALL_100kHz/gain_in);//gain_in;
						PWM_SetFreqkHz(150);
						break;
					}
					case 12:
					{
						vo_vpp[9] = Filter*vo_vpp[9] + (1-Filter)*((ad1_vrm_p[2] - adc1_filter[3] + Schottky_drop)<<1);
						gain_trans[9] = 20*log10f(vo_vpp[9]/GAIN_ALL_150kHz/gain_in);//gain_in;
						PWM_SetFreqkHz(200);
						break;
					}
					case 13:
					{
						vo_vpp[10] = 0.7*vo_vpp[10] + 0.3*((ad1_vrm_p[2] - adc1_filter[3] + Schottky_drop)<<1);
						gain_trans[10] = 20*log10f(vo_vpp[10]/GAIN_ALL_150kHz/gain_in);//gain_in;

						//PWM off
						__HAL_TIM_SET_COMPARE(&htim1,TIM_CHANNEL_1,0);
						RELAY_OFF();
						break;
					}
					case 14:
					{
						break;
					}
					default:
						break;
				}
				gain_max = 0.5*(gain_trans[3]+gain_trans[4]);
				gain_limit = gain_max - 3;

				for(ii=3;ii<=11;ii++)
				{
					if(gain_trans[ii]>= gain_limit)
					{
						A1 = gain_trans[ii];
						F1 = gain_freq[ii];
					}
					else
					{
						A2 = gain_trans[ii];
						F2 = gain_freq[ii];
						break;
					}
				}
				A0 = gain_limit;
				if(F0 <= 10)
					F0 = 50;
				F0 = 0.7* F0 + 0.3*(F2 - (A2-A0)*(F2-F1)/(A2-A1));

				break;
			}
			case 2:     //提高部分   2222222222222222222222222222222222222222222222222222222222222222222222222222222222222222222222
			{
				if((FLAG_MODE_SET1==SET) && (FLAG_MODE_SET0==SET))
				{
					DAC_GAIN_Set(SET);
					LOAD_OFF();
					//DAC_SetFreqHz(1000);
					switch(flag_100Hz)
					{
						case 0:
						{
							RELAY_OFF();
							DAC_GAIN_Set(SET);
							break;
						}
						case 1:		//输入电阻 1V
						{
							regsitor_input_adv = Filter*regsitor_input_adv + (1-Filter)*regsitor_input_temp;

							vo_vpp_no_load = (ad1_vrm_p[2] - adc1_filter[3] + Schottky_drop)<<1;
							vo_avr_no_load = adc1_filter[3];

							LOAD_ON();
							//DAC_GAIN_Set(RESET); //0.1V 为case2准备
							break;
						}
						case 2:		//输出电阻 0.1V
						{
							vo_vpp_with_load = (ad1_vrm_p[2] - adc1_filter[3] + Schottky_drop)<<1;
							vo_avr_with_load = adc1_filter[3];
							regsitor_output_adv = (double)(vo_avr_no_load-vo_avr_with_load) * 2000 / vo_avr_with_load;

							LOAD_OFF();
							DAC_GAIN_Set(SET);
							DAC_SetFreqHz(50);
							break;
						}
						case 3:    //50Hz
						{
							//vo_vpp[0] = Filter*vo_vpp[0] + (1-Filter)*((ad1_vrm_p[2] - adc1_filter[3] + 0)<<1);
							vo_vpp[0] = 0.65*vo_vpp[0] + (0.35)*((ad1_vrm_p[2] - vo_avr_1kHz + 0)<<1);
							gain_trans_adv[0] = 20*log10f(vo_vpp[0]/GAIN_ALL_1kHz/gain_in);//gain_in;

							if(gain_trans_adv[0] >= gain_trans[0]+3.3)
								flag_50Hz_gain = 1;
							if(gain_trans_adv[0] <= gain_trans[0]+2.4) // C2 double
								flag_50Hz_gain = 0;

							DAC_SetFreqHz(1000);
							break;
						}
						case 4:		//增益 1V 1kHz
						{
							vo_vpp[3] = Filter*vo_vpp[3] + (1-Filter)*((ad1_vrm_p[2] - adc1_filter[3] + Schottky_drop)<<1);
							gain_in = regsitor_input_adv/(regsitor_input_adv+10);
							//gain_in = 1;
							gain_trans_adv[3] = 20*log10f(vo_vpp[3]/GAIN_ALL_1kHz/gain_in); //    /gain_in !!!!!!!!!!!!!!!!!!!!!!!!!!!!!!!!!!!!!!!!!!!!!!!!!

							flag_vavr_adc = adc1_filter[3];
							if(gain_trans_adv[3] <= 0.72*gain_trans[3])
							{
								flag_gain_1kHz = 0;
							}
							else
							{
								flag_gain_1kHz = 1;
							}
							break;
						}
						case 5:
						{
							RELAY_ON();
							__HAL_TIM_SET_COUNTER(&htim1,0);
							__HAL_TIM_SET_COMPARE(&htim1,TIM_CHANNEL_1,0);
							break;
						}
						case 6:
						{
							__HAL_TIM_SET_AUTORELOAD(&htim1,800);
							__HAL_TIM_SET_COMPARE(&htim1,TIM_CHANNEL_1,800);
							__HAL_TIM_SET_COUNTER(&htim1,0);
							break;
						}
						case 7:
						{
							__HAL_TIM_SET_COUNTER(&htim1,0);
							__HAL_TIM_SET_COMPARE(&htim1,TIM_CHANNEL_1,0);

							pulse_vpp_adc = adc1_filter[1];
							if(pulse_vpp_adc > 170)
								flag_pulse = 1;
							if(pulse_vpp_adc < 168)
								flag_pulse = 0;

							PWM_SetFreqkHz(10);
							break;
						}
						case 8:
						{
							vo_vpp[4] = Filter*vo_vpp[4] + (1-Filter)*((ad1_vrm_p[2] - adc1_filter[3] + Schottky_drop)<<1);
							gain_trans_adv[4] = 20*log10f(vo_vpp[4]/GAIN_ALL_10kHz/gain_in);
							PWM_SetFreqkHz(20);
							break;
						}
						case 9:
						{
							vo_vpp[5] = Filter*vo_vpp[5] + (1-Filter)*((ad1_vrm_p[2] - adc1_filter[3] + Schottky_drop)<<1);
							gain_trans_adv[5] = 20*log10f(vo_vpp[5]/GAIN_ALL_20kHz/gain_in);
							PWM_SetFreqkHz(40);
							break;
						}
						case 10:
						{
							vo_vpp[6] = Filter*vo_vpp[6] + (1-Filter)*((ad1_vrm_p[2] - adc1_filter[3] + Schottky_drop)<<1);
							gain_trans_adv[6] = 20*log10f(vo_vpp[6]/GAIN_ALL_40kHz/gain_in);
							PWM_SetFreqkHz(60);
							break;
						}
						case 11:
						{
							vo_vpp[7] = Filter*vo_vpp[7] + (1-Filter)*((ad1_vrm_p[2] - adc1_filter[3] + Schottky_drop)<<1);
							gain_trans_adv[7] = 20*log10f(vo_vpp[7]/GAIN_ALL_60kHz/gain_in);
							PWM_SetFreqkHz(100);
							break;
						}
						case 12:
						{
							vo_vpp[8] = Filter*vo_vpp[8] + (1-Filter)*((ad1_vrm_p[2] - adc1_filter[3] + Schottky_drop)<<1);
							gain_trans_adv[8] = 20*log10f(vo_vpp[8]/GAIN_ALL_100kHz/gain_in);
							PWM_SetFreqkHz(150);
							break;
						}
						case 13:
						{
							vo_vpp[9] = Filter*vo_vpp[9] + (1-Filter)*((ad1_vrm_p[2] - adc1_filter[3] + Schottky_drop)<<1);
							gain_trans_adv[9] = 20*log10f(vo_vpp[9]/GAIN_ALL_150kHz/gain_in);
							PWM_SetFreqkHz(200);
							break;
						}
						case 14:
						{
							vo_vpp[10] = Filter*vo_vpp[10] + (1-Filter)*((ad1_vrm_p[2] - adc1_filter[3] + Schottky_drop)<<1);
							gain_trans_adv[10] = 20*log10f(vo_vpp[10]/GAIN_ALL_200kHz/gain_in);

							if(gain_trans_adv[10] <= gain_trans[10] + 0.8)
							{
								flag_gain_200kHz = 2;
							}
							if(gain_trans_adv[10] <= gain_trans[10] - 1.22)
							{
								flag_gain_200kHz = 1;
							}
							if(gain_trans_adv[10] >= gain_trans[10] - 1.12)
							{
								flag_gain_200kHz = 2;
							}
							if(gain_trans_adv[10] >= gain_trans[10] + 1.08)
							{
								flag_gain_200kHz = 3; //C3 open
							}

							//PWM off
							__HAL_TIM_SET_COMPARE(&htim1,TIM_CHANNEL_1,0);
							RELAY_OFF();
							break;
						}
						default:
							break;
					}
					gain_max_adv = 0.5*(gain_trans_adv[3]+gain_trans_adv[4]);
					gain_limit_adv = gain_max_adv - 3;

					for(ii=3;ii<=14;ii++)
					{
						if(gain_trans_adv[ii]>= gain_limit_adv)
						{
							A1_adv = gain_trans_adv[ii];
							F1_adv = gain_freq[ii];
						}
						else
						{
							A2_adv = gain_trans_adv[ii];
							F2_adv = gain_freq[ii];
							break;
						}
					}
					A0_adv = gain_limit_adv;
					if(F0_adv <= 10)
						F0_adv = 50;
					F0_adv = 0.7* F0_adv + 0.3*(F2_adv - (A2_adv-A0_adv)*(F2_adv-F1_adv)/(A2_adv-A1_adv));
					break;
				}
			}
			default:
				break;
		}

		flag_100Hz ++;
		if(flag_100Hz >= 15)
			flag_100Hz = 0;
	}
}

void ADC_VRMS(void)
{
	static int16_t adc_C = 0;
	static int16_t ad1_vrm_p1[adc1_channel] = {0};
	static int16_t ad1_vrm_n1[adc1_channel] = {4095};

	ADC1_Average(adc1_values);

	for(adc_C = 0; adc_C < adc1_channel; adc_C ++)
	{
		if(adc1_filter[adc_C] >= ad1_vrm_p1[adc_C])
		{
			ad1_vrm_p1[adc_C] = adc1_filter[adc_C];
		}
		if(adc1_filter[adc_C] <= ad1_vrm_n1[adc_C])
		{
			ad1_vrm_n1[adc_C] = adc1_filter[adc_C];
		}
	}

	flag_ad_vrm ++;
	if(flag_ad_vrm >= 600)
	{
		flag_ad_vrm = 0;
		for(adc_C = 0; adc_C < adc1_channel; adc_C ++)
		{
			ad1_vrm_p[adc_C] = ad1_vrm_p1[adc_C];		//0.5*ad1_vrm_p[adc_C] + 0.5*ad1_vrm_p1[adc_C];
			ad1_vrm_n[adc_C] = ad1_vrm_n1[adc_C];		//0.5*ad1_vrm_n[adc_C] + 0.5*ad1_vrm_n1[adc_C];
			ad1_vrm_p1[adc_C] = 0;
			ad1_vrm_n1[adc_C] = 4095;
		}
	}

}

void DAC_GAIN_Set(FlagStatus GAIN)
{
	if(GAIN == SET)
	{
		for(Idx = 0; Idx <100; Idx++)
		{
			DualSinebit[Idx] = (Sinebit1[Idx] << 16)+ (Sinebit1[Idx]);
		}
	}
	else
	{
		for(Idx = 0; Idx <100; Idx++)
		{
			DualSinebit[Idx] = (Sinebit2[Idx] << 16)+ (Sinebit2[Idx]);
		}
	}
}

void PWM_SetFreqkHz(uint16_t freq) /*freq - kHz, 10kHz~4MHz*/
{
	__HAL_TIM_SET_COMPARE(&htim1,TIM_CHANNEL_1,168000/freq/2-1);
	__HAL_TIM_SET_AUTORELOAD(&htim1,168000/freq-1);
	__HAL_TIM_SET_COUNTER(&htim1,0);
}

void DAC_SetFreqHz(uint16_t freq)  /*freq - Hz, 10Hz~10kHz*/
{
	__HAL_TIM_SET_AUTORELOAD(&htim6,120000/freq-1);
	__HAL_TIM_SET_COUNTER(&htim6,0);
}

/* USER CODE END 4 */

void Error_Handler(void)
{
}

/************************ (C) COPYRIGHT STMicroelectronics *****END OF FILE****/
